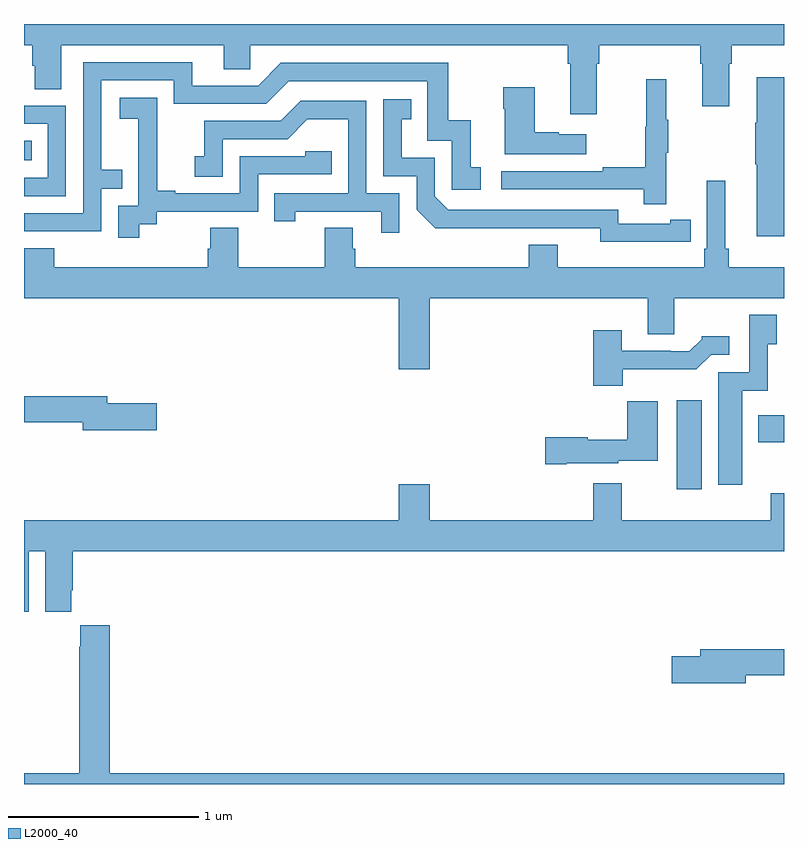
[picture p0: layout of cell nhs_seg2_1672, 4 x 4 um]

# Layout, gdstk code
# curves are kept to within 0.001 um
import gdstk
lib = gdstk.Library(unit=1e-6, precision=1e-09)
def R(c, l, rs):  # rectangles x0, y0, x1, y1
    for r in rs: c.add(gdstk.rectangle(r[:2], r[2:], *l))
def P(c, l, *ps):  # polygons
    for p in ps: c.add(gdstk.Polygon(p, *l))
L2000_40 = (2000, 40)

nhs_seg2_1672 = lib.new_cell('nhs_seg2_1672')
R(nhs_seg2_1672, L2000_40, [(202.436,593.352,202.567,593.821), (202.865,593.6,203,593.74), (199,595.082,199.04,595.186)])
P(nhs_seg2_1672, L2000_40, [(199,595.688),(199.043,595.688),(199.043,595.579),(199.056,595.579),(199.056,595.456),(199.195,595.456),(199.195,595.688),(200.051,595.688),(200.051,595.561),(200.19,595.561),(200.19,595.688),(201.863,595.688),(201.863,595.592),(201.875,595.592),(201.875,595.326),(202.015,595.326),(202.015,595.592),(202.028,595.592),(202.028,595.688),(202.559,595.688),(202.559,595.592),(202.571,595.592),(202.571,595.368),(202.711,595.368),(202.711,595.592),(202.724,595.592),(202.724,595.688),(203,595.688),(203,595.8),(199,595.8)],
  [(199.407,594.933),(199.517,594.933),(199.517,595.034),(199.407,595.034),(199.407,595.503),(199.788,595.503),(199.788,595.38),(200.274,595.38),(200.394,595.5),(201.123,595.5),(201.123,595.185),(201.252,595.185),(201.252,594.927),(201.403,594.927),(201.403,595.047),(201.35,595.047),(201.35,595.294),(201.232,595.294),(201.232,595.596),(200.352,595.596),(200.232,595.476),(199.885,595.476),(199.885,595.599),(199.311,595.599),(199.311,594.804),(199,594.804),(199,594.708),(199.407,594.708)],
  [(203,595.519),(202.856,595.519),(202.856,595.28),(202.849,595.28),(202.849,595.063),(202.856,595.063),(202.856,594.684),(203,594.684)],
  [(202.379,595.123),(202.39,595.123),(202.39,595.297),(202.379,595.297),(202.379,595.51),(202.276,595.51),(202.276,595.26),(202.269,595.26),(202.269,595.046),(202.045,595.046),(202.045,595.026),(201.513,595.026),(201.513,594.93),(202.261,594.93),(202.261,594.852),(202.379,594.852)],
  [(201.958,595.219),(201.815,595.219),(201.815,595.229),(201.688,595.229),(201.688,595.468),(201.523,595.468),(201.523,595.355),(201.53,595.355),(201.53,595.115),(201.958,595.115)],
  [(199.606,594.745),(199.698,594.745),(199.698,594.813),(200.232,594.813),(200.232,595.008),(200.621,595.008),(200.621,595.131),(200.481,595.131),(200.481,595.104),(200.136,595.104),(200.136,594.909),(199.795,594.909),(199.795,594.922),(199.7,594.922),(199.7,595.205),(199.701,595.205),(199.701,595.411),(199.503,595.411),(199.503,595.301),(199.601,595.301),(199.601,595.073),(199.602,595.073),(199.602,594.843),(199.497,594.843),(199.497,594.675),(199.606,594.675)],
  [(202.4,594.654),(202.508,594.654),(202.508,594.77),(202.4,594.77),(202.4,594.75),(202.128,594.75),(202.128,594.822),(201.234,594.822),(201.162,594.894),(201.162,595.095),(200.989,595.095),(200.989,595.299),(201.038,595.299),(201.038,595.405),(200.892,595.405),(200.892,594.999),(201.066,594.999),(201.066,594.822),(201.164,594.725),(202.032,594.726),(202.032,594.653)],
  [(200.976,594.909),(200.802,594.909),(200.802,595.395),(200.456,595.395),(200.351,595.29),(199.948,595.29),(199.948,595.105),(199.899,595.105),(199.899,594.996),(200.046,594.996),(200.046,595.194),(200.388,595.194),(200.492,595.298),(200.706,595.298),(200.706,594.909),(200.317,594.909),(200.317,594.762),(200.428,594.762),(200.428,594.813),(200.879,594.813),(200.879,594.702),(200.976,594.702)],
  [(199.221,595.371),(199.002,595.371),(199,595.373),(199,595.275),(199.125,595.275),(199.125,594.99),(199,594.99),(199,594.894),(199.221,594.894)],
  [(199.979,594.728),(199.979,594.618),(199.967,594.618),(199.967,594.52),(199.16,594.52),(199.16,594.619),(199,594.619),(199,594.356),(200.972,594.356),(200.972,593.982),(201.136,593.982),(201.136,594.356),(202.283,594.356),(202.283,594.166),(202.423,594.166),(202.423,594.356),(203,594.356),(203,594.52),(202.709,594.52),(202.709,594.616),(202.69,594.616),(202.69,594.976),(202.593,594.976),(202.593,594.616),(202.58,594.616),(202.58,594.52),(201.808,594.52),(201.808,594.637),(201.656,594.637),(201.656,594.52),(200.744,594.52),(200.744,594.618),(200.731,594.618),(200.731,594.728),(200.584,594.728),(200.584,594.52),(200.127,594.52),(200.127,594.728)],
  [(202.78,593.87),(202.914,593.87),(202.914,594.115),(202.962,594.115),(202.962,594.271),(202.818,594.271),(202.818,593.967),(202.655,593.967),(202.655,593.376),(202.78,593.376)],
  [(202.15,593.982),(202.539,593.982),(202.617,594.06),(202.711,594.06),(202.711,594.157),(202.566,594.157),(202.566,594.142),(202.502,594.078),(202.403,594.078),(202.403,594.081),(202.147,594.081),(202.147,594.187),(201.995,594.187),(201.995,593.897),(202.15,593.897)],
  [(199.699,593.804),(199.438,593.804),(199.438,593.84),(199,593.84),(199,593.704),(199.31,593.704),(199.31,593.662),(199.699,593.662)],
  [(201.856,593.489),(202.128,593.489),(202.128,593.501),(202.336,593.501),(202.336,593.815),(202.174,593.815),(202.174,593.611),(201.966,593.611),(201.966,593.624),(201.744,593.624),(201.744,593.482),(201.856,593.482)],
  [(199.024,593.024),(199.112,593.024),(199.112,592.707),(199.249,592.707),(199.249,592.819),(199.256,592.819),(199.256,593.024),(203,593.024),(203,593.329),(202.931,593.329),(202.931,593.188),(202.147,593.188),(202.147,593.383),(201.995,593.383),(201.995,593.188),(201.136,593.188),(201.136,593.377),(200.972,593.377),(200.972,593.188),(199,593.188),(199,592.707),(199.024,592.707)],
  [(199,591.8),(203,591.8),(203,591.856),(199.451,591.856),(199.451,592.636),(199.295,592.636),(199.295,592.523),(199.291,592.523),(199.291,591.856),(199,591.856)],
  [(202.798,592.372),(203,592.372),(203,592.508),(202.559,592.508),(202.559,592.472),(202.41,592.472),(202.41,592.33),(202.798,592.33)])

lib.write_gds('nhs_seg2_1672.gds')
